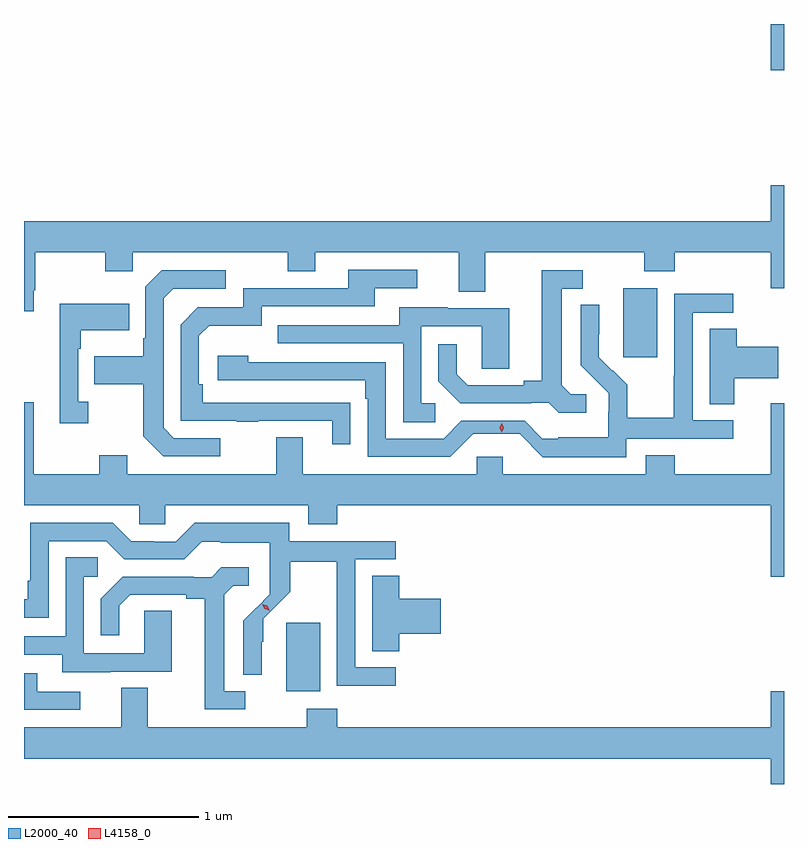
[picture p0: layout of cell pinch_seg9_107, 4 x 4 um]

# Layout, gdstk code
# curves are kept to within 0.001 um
import gdstk
lib = gdstk.Library(unit=1e-6, precision=1e-09)
def R(c, l, rs):  # rectangles x0, y0, x1, y1
    for r in rs: c.add(gdstk.rectangle(r[:2], r[2:], *l))
def P(c, l, *ps):  # polygons
    for p in ps: c.add(gdstk.Polygon(p, *l))
L2000_40 = (2000, 40)
L4158_0 = (4158, 0)

pinch_seg9_107 = lib.new_cell('pinch_seg9_107')
R(pinch_seg9_107, L2000_40, [(1145.252,1195.442,1145.431,1195.804), (1147.028,1197.201,1147.207,1197.562), (1147.802,1198.71,1147.873,1198.954)])
P(pinch_seg9_107, L2000_40, [(1143.925,1197.553),(1143.933,1197.553),(1143.933,1197.752),(1144.3,1197.752),(1144.3,1197.653),(1144.446,1197.653),(1144.446,1197.752),(1145.26,1197.752),(1145.26,1197.653),(1145.407,1197.653),(1145.407,1197.752),(1146.161,1197.752),(1146.161,1197.544),(1146.301,1197.544),(1146.301,1197.752),(1147.138,1197.752),(1147.138,1197.653),(1147.298,1197.653),(1147.298,1197.752),(1147.802,1197.752),(1147.802,1197.564),(1147.873,1197.564),(1147.873,1198.105),(1147.802,1198.105),(1147.802,1197.916),(1143.873,1197.916),(1143.873,1197.441),(1143.925,1197.441)],
  [(1145.591,1196.96),(1144.814,1196.961),(1144.814,1197.058),(1144.794,1197.058),(1144.794,1197.312),(1144.847,1197.365),(1145.124,1197.365),(1145.124,1197.468),(1145.719,1197.468),(1145.719,1197.564),(1145.944,1197.564),(1145.944,1197.66),(1145.579,1197.66),(1145.579,1197.564),(1145.028,1197.564),(1145.028,1197.462),(1144.788,1197.462),(1144.698,1197.372),(1144.698,1196.865),(1144.993,1196.865),(1144.993,1196.86),(1145.105,1196.86),(1145.105,1196.865),(1145.495,1196.865),(1145.495,1196.742),(1145.591,1196.742)],
  [(1144.906,1196.775),(1144.662,1196.775),(1144.608,1196.829),(1144.608,1197.51),(1144.659,1197.561),(1144.936,1197.561),(1144.936,1197.657),(1144.599,1197.657),(1144.512,1197.57),(1144.512,1197.301),(1144.5,1197.301),(1144.5,1197.205),(1144.243,1197.205),(1144.243,1197.058),(1144.5,1197.058),(1144.5,1196.785),(1144.605,1196.679),(1144.906,1196.679)],
  [(1146.832,1197.006),(1146.75,1197.006),(1146.703,1197.053),(1146.703,1197.561),(1146.814,1197.561),(1146.814,1197.657),(1146.599,1197.657),(1146.599,1197.077),(1146.503,1197.077),(1146.503,1197.054),(1146.208,1197.054),(1146.151,1197.111),(1146.151,1197.268),(1146.054,1197.268),(1146.054,1197.074),(1146.17,1196.958),(1146.542,1196.958),(1146.542,1196.961),(1146.636,1196.961),(1146.688,1196.909),(1146.832,1196.909)],
  [(1147.044,1196.772),(1147.606,1196.772),(1147.606,1196.868),(1147.392,1196.868),(1147.392,1197.435),(1147.606,1197.435),(1147.606,1197.534),(1147.296,1197.534),(1147.296,1197.104),(1147.294,1197.104),(1147.294,1196.881),(1147.049,1196.881),(1147.049,1197.055),(1146.972,1197.132),(1146.969,1197.129),(1146.899,1197.2),(1146.9,1197.476),(1146.804,1197.476),(1146.804,1197.158),(1146.95,1197.01),(1146.95,1196.913),(1146.948,1196.913),(1146.948,1196.779),(1146.685,1196.779),(1146.685,1196.772),(1146.601,1196.772),(1146.508,1196.865),(1146.174,1196.865),(1146.081,1196.772),(1145.778,1196.772),(1145.778,1197.174),(1145.054,1197.174),(1145.054,1197.208),(1144.893,1197.208),(1144.893,1197.078),(1145.669,1197.078),(1145.669,1196.981),(1145.682,1196.981),(1145.682,1196.676),(1146.117,1196.676),(1146.238,1196.797),(1146.481,1196.797),(1146.602,1196.675),(1147.044,1196.675)],
  [(1144.21,1196.966),(1144.158,1196.966),(1144.158,1197.245),(1144.171,1197.245),(1144.171,1197.341),(1144.427,1197.341),(1144.427,1197.481),(1144.061,1197.481),(1144.061,1196.853),(1144.21,1196.853)],
  [(1146.037,1196.958),(1145.964,1196.958),(1145.964,1197.363),(1146.282,1197.363),(1146.282,1197.139),(1146.427,1197.139),(1146.427,1197.459),(1146.103,1197.459),(1146.103,1197.463),(1145.849,1197.463),(1145.849,1197.369),(1145.209,1197.369),(1145.209,1197.273),(1145.868,1197.273),(1145.868,1196.857),(1146.037,1196.857)],
  [(1147.612,1197.089),(1147.843,1197.089),(1147.843,1197.255),(1147.625,1197.255),(1147.625,1197.35),(1147.481,1197.35),(1147.481,1196.953),(1147.612,1196.953)],
  [(1147.873,1196.959),(1147.802,1196.959),(1147.802,1196.584),(1147.298,1196.584),(1147.298,1196.683),(1147.145,1196.683),(1147.145,1196.584),(1146.394,1196.584),(1146.394,1196.677),(1146.255,1196.677),(1146.255,1196.584),(1145.341,1196.584),(1145.341,1196.779),(1145.201,1196.779),(1145.201,1196.584),(1144.417,1196.584),(1144.417,1196.683),(1144.27,1196.683),(1144.27,1196.584),(1143.925,1196.584),(1143.925,1196.962),(1143.873,1196.962),(1143.873,1196.42),(1144.479,1196.42),(1144.479,1196.322),(1144.617,1196.322),(1144.617,1196.42),(1145.369,1196.42),(1145.369,1196.321),(1145.522,1196.321),(1145.522,1196.42),(1147.802,1196.42),(1147.802,1196.046),(1147.873,1196.046)],
  [(1145.83,1195.569),(1145.616,1195.569),(1145.616,1196.136),(1145.83,1196.136),(1145.83,1196.232),(1145.268,1196.232),(1145.268,1196.329),(1144.771,1196.329),(1144.671,1196.229),(1144.556,1196.229),(1144.556,1196.232),(1144.437,1196.232),(1144.341,1196.328),(1143.906,1196.328),(1143.906,1196.023),(1143.893,1196.023),(1143.893,1195.926),(1143.873,1195.926),(1143.873,1195.83),(1144.002,1195.83),(1144.002,1196.232),(1144.305,1196.232),(1144.401,1196.136),(1144.716,1196.136),(1144.809,1196.229),(1144.909,1196.229),(1144.909,1196.225),(1145.167,1196.225),(1145.167,1195.952),(1145.028,1195.814),(1145.028,1195.528),(1145.124,1195.528),(1145.124,1195.704),(1145.133,1195.704),(1145.133,1195.825),(1145.273,1195.965),(1145.273,1196.124),(1145.518,1196.124),(1145.518,1195.9),(1145.52,1195.9),(1145.52,1195.471),(1145.83,1195.471)],
  [(1144.327,1195.545),(1144.651,1195.545),(1144.651,1195.865),(1144.506,1195.865),(1144.506,1195.641),(1144.188,1195.641),(1144.188,1196.046),(1144.261,1196.046),(1144.261,1196.147),(1144.092,1196.147),(1144.092,1195.731),(1143.873,1195.731),(1143.873,1195.635),(1144.073,1195.635),(1144.073,1195.541),(1144.327,1195.541)],
  [(1145.038,1195.443),(1144.927,1195.443),(1144.927,1195.951),(1144.974,1195.998),(1145.056,1195.998),(1145.056,1196.095),(1144.912,1196.095),(1144.86,1196.043),(1144.766,1196.043),(1144.766,1196.046),(1144.394,1196.046),(1144.278,1195.93),(1144.278,1195.737),(1144.375,1195.737),(1144.375,1195.893),(1144.432,1195.95),(1144.727,1195.95),(1144.727,1195.928),(1144.823,1195.928),(1144.823,1195.347),(1145.038,1195.347)],
  [(1145.849,1195.745),(1146.067,1195.745),(1146.067,1195.928),(1145.849,1195.928),(1145.849,1196.051),(1145.705,1196.051),(1145.705,1195.654),(1145.849,1195.654)],
  [(1144.168,1195.44),(1143.943,1195.44),(1143.943,1195.536),(1143.873,1195.536),(1143.873,1195.344),(1144.168,1195.344)],
  [(1147.873,1195.441),(1147.802,1195.441),(1147.802,1195.252),(1145.522,1195.252),(1145.522,1195.351),(1145.362,1195.351),(1145.362,1195.252),(1144.525,1195.252),(1144.525,1195.46),(1144.385,1195.46),(1144.385,1195.252),(1143.873,1195.252),(1143.873,1195.088),(1147.802,1195.088),(1147.802,1194.954),(1147.873,1194.954)])
P(pinch_seg9_107, L4158_0, [(1145.167,1195.866),(1145.14,1195.876),(1145.127,1195.9),(1145.127,1195.9),(1145.127,1195.9),(1145.153,1195.891),(1145.167,1195.866),(1145.167,1195.866)],
  [(1146.387,1196.805),(1146.387,1196.805),(1146.377,1196.829),(1146.387,1196.853),(1146.387,1196.853),(1146.387,1196.853),(1146.397,1196.829),(1146.387,1196.805)])

lib.write_gds('pinch_seg9_107.gds')
